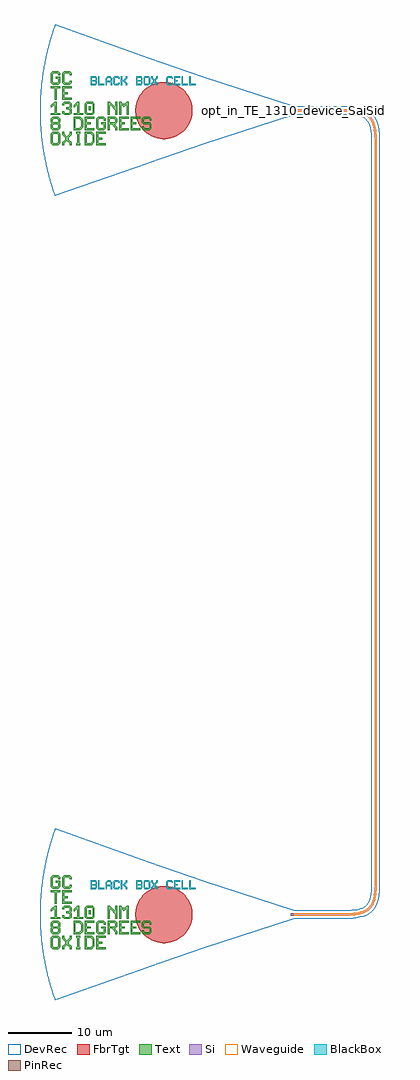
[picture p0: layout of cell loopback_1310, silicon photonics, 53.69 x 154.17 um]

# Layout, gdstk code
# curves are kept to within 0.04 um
import gdstk
lib = gdstk.Library(unit=1e-6, precision=1e-09)
def R(c, l, rs):  # rectangles x0, y0, x1, y1
    for r in rs: c.add(gdstk.rectangle(r[:2], r[2:], *l))
def P(c, l, *ps):  # polygons
    for p in ps: c.add(gdstk.Polygon(p, *l))
Si = (1, 0)
PinRec = (1, 10)
Waveguide = (1, 99)
Text = (10, 0)
DevRec = (68, 0)
FbrTgt = (81, 0)
BlackBox = (998, 0)

text = lib.new_cell('TEXT')
P(text, BlackBox, [(0,0),(0,1.4),(0.8,1.4),(1,1.2),(0.2,1.2),(0.2,0.8),(0.7,0.8),(0.8,0.9),(0.8,1.1),(0.7,1.2),(1,1.2),(1,0.8),(0.9,0.7),(1,0.6),(0.2,0.6),(0.2,0.2),(0.7,0.2),(0.8,0.3),(0.8,0.5),(0.7,0.6),(1,0.6),(1,0.2),(0.8,0)],
  [(1.2,0),(1.2,1.4),(1.4,1.4),(1.4,0.2),(2.2,0.2),(2.2,0)],
  [(2.4,0),(2.4,1.1),(2.7,1.4),(3.1,1.4),(3.3,1.2),(2.8,1.2),(2.6,1),(2.6,0.7),(3.2,0.7),(3.2,1),(3,1.2),(3.3,1.2),(3.4,1.1),(3.4,0),(3.2,0),(3.2,0.5),(2.6,0.5),(2.6,0)],
  [(3.8,0),(3.6,0.2),(3.6,1.2),(3.8,1.4),(4.4,1.4),(4.6,1.2),(4.6,1),(4.4,1),(4.4,1.1),(4.3,1.2),(3.9,1.2),(3.8,1.1),(3.8,0.3),(3.9,0.2),(4.3,0.2),(4.4,0.3),(4.4,0.4),(4.6,0.4),(4.6,0.2),(4.4,0)],
  [(4.8,0),(4.8,1.4),(5,1.4),(5,0.8),(5.2,0.8),(5.6,1.2),(5.6,1.4),(5.8,1.4),(5.8,1.1),(5.4,0.7),(5.8,0.3),(5.8,0),(5.6,0),(5.6,0.2),(5.2,0.6),(5,0.6),(5,0)],
  [(7.2,0),(7.2,1.4),(8,1.4),(8.2,1.2),(7.4,1.2),(7.4,0.8),(7.9,0.8),(8,0.9),(8,1.1),(7.9,1.2),(8.2,1.2),(8.2,0.8),(8.1,0.7),(8.2,0.6),(7.4,0.6),(7.4,0.2),(7.9,0.2),(8,0.3),(8,0.5),(7.9,0.6),(8.2,0.6),(8.2,0.2),(8,0)],
  [(8.6,0),(8.4,0.2),(8.4,1.2),(8.6,1.4),(9.2,1.4),(9.4,1.2),(9.4,0.7),(9.2,0.7),(9.2,1.1),(9.1,1.2),(8.7,1.2),(8.6,1.1),(8.6,0.3),(8.7,0.2),(9.1,0.2),(9.2,0.3),(9.2,0.7),(9.4,0.7),(9.4,0.2),(9.2,0)],
  [(9.6,0),(9.6,0.3),(9.9,0.6),(9.9,0.8),(9.6,1.1),(9.6,1.4),(9.8,1.4),(9.8,1.2),(10.1,0.9),(10.4,1.2),(10.4,1.4),(10.6,1.4),(10.6,1.1),(10.3,0.8),(10.3,0.6),(10.6,0.3),(10.6,0),(10.4,0),(10.4,0.2),(10.1,0.5),(9.8,0.2),(9.8,0)],
  [(12.2,0),(12,0.2),(12,1.2),(12.2,1.4),(12.8,1.4),(13,1.2),(13,1),(12.8,1),(12.8,1.1),(12.7,1.2),(12.3,1.2),(12.2,1.1),(12.2,0.3),(12.3,0.2),(12.7,0.2),(12.8,0.3),(12.8,0.4),(13,0.4),(13,0.2),(12.8,0)],
  [(13.2,0),(13.2,1.4),(14.2,1.4),(14.2,1.2),(13.4,1.2),(13.4,0.8),(13.8,0.8),(13.8,0.6),(13.4,0.6),(13.4,0.2),(14.2,0.2),(14.2,0)],
  [(14.4,0),(14.4,1.4),(14.6,1.4),(14.6,0.2),(15.4,0.2),(15.4,0)],
  [(15.6,0),(15.6,1.4),(15.8,1.4),(15.8,0.2),(16.6,0.2),(16.6,0)])

gc_te_1310_8degoxide_bb = lib.new_cell('GC_TE_1310_8degOxide_BB')
R(gc_te_1310_8degoxide_bb, Si, [(-0.4,-0.175,0,0.175)])
R(gc_te_1310_8degoxide_bb, Text, [(-32.27,0.06,-31.97,0.66)])
P(gc_te_1310_8degoxide_bb, Text, [(-37.67,1.71),(-37.67,3.51),(-38.27,3.51),(-38.27,3.81),(-36.77,3.81),(-36.77,3.51),(-37.37,3.51),(-37.37,1.71)],
  [(-37.97,-5.49),(-38.27,-5.19),(-38.27,-3.69),(-37.97,-3.39),(-37.07,-3.39),(-36.77,-3.69),(-36.77,-4.44),(-37.07,-4.44),(-37.07,-3.84),(-37.22,-3.69),(-37.82,-3.69),(-37.97,-3.84),(-37.97,-5.04),(-37.82,-5.19),(-37.22,-5.19),(-37.07,-5.04),(-37.07,-4.44),(-36.77,-4.44),(-36.77,-5.19),(-37.07,-5.49)],
  [(-31.07,-5.49),(-31.07,-3.39),(-29.57,-3.39),(-29.57,-3.69),(-30.77,-3.69),(-30.77,-4.29),(-30.17,-4.29),(-30.17,-4.59),(-30.77,-4.59),(-30.77,-5.19),(-29.57,-5.19),(-29.57,-5.49)],
  [(-32.87,-3.09),(-32.87,-0.99),(-31.37,-0.99),(-31.37,-1.29),(-32.57,-1.29),(-32.57,-1.89),(-31.97,-1.89),(-31.97,-2.19),(-32.57,-2.19),(-32.57,-2.79),(-31.37,-2.79),(-31.37,-3.09)],
  [(-27.47,-3.09),(-27.47,-0.99),(-25.97,-0.99),(-25.97,-1.29),(-27.17,-1.29),(-27.17,-1.89),(-26.57,-1.89),(-26.57,-2.19),(-27.17,-2.19),(-27.17,-2.79),(-25.97,-2.79),(-25.97,-3.09)],
  [(-25.67,-3.09),(-25.67,-0.99),(-24.17,-0.99),(-24.17,-1.29),(-25.37,-1.29),(-25.37,-1.89),(-24.77,-1.89),(-24.77,-2.19),(-25.37,-2.19),(-25.37,-2.79),(-24.17,-2.79),(-24.17,-3.09)],
  [(-36.47,1.71),(-36.47,3.81),(-34.97,3.81),(-34.97,3.51),(-36.17,3.51),(-36.17,2.91),(-35.57,2.91),(-35.57,2.61),(-36.17,2.61),(-36.17,2.01),(-34.97,2.01),(-34.97,1.71)],
  [(-27.47,-0.69),(-27.47,1.41),(-27.17,1.41),(-26.87,1.11),(-26.57,1.11),(-26.27,1.41),(-25.97,1.41),(-25.97,-0.69),(-26.27,-0.69),(-26.27,0.81),(-26.42,0.81),(-26.72,0.51),(-27.02,0.81),(-27.17,0.81),(-27.17,-0.69)],
  [(-29.27,-0.69),(-29.27,1.41),(-28.97,1.41),(-28.22,0.66),(-28.07,0.66),(-28.07,1.41),(-27.77,1.41),(-27.77,-0.69),(-28.07,-0.69),(-28.07,0.06),(-28.82,0.81),(-28.97,0.81),(-28.97,-0.69)],
  [(-34.22,-5.49),(-34.22,-5.19),(-34.07,-5.19),(-34.07,-3.69),(-34.22,-3.69),(-34.22,-3.39),(-33.62,-3.39),(-33.62,-3.69),(-33.77,-3.69),(-33.77,-5.19),(-33.62,-5.19),(-33.62,-5.49)],
  [(-36.17,-0.69),(-36.47,-0.39),(-36.47,-0.09),(-36.17,-0.09),(-36.17,-0.24),(-36.02,-0.39),(-35.42,-0.39),(-35.27,-0.24),(-35.27,0.06),(-35.42,0.21),(-35.87,0.21),(-35.87,0.51),(-35.42,0.51),(-35.27,0.66),(-35.27,0.96),(-35.42,1.11),(-36.02,1.11),(-36.17,0.96),(-36.17,0.81),(-36.47,0.81),(-36.47,1.11),(-36.17,1.41),(-35.27,1.41),(-34.97,1.11),(-34.97,0.51),(-35.12,0.36),(-34.97,0.21),(-34.97,-0.39),(-35.27,-0.69)],
  [(-29.27,-3.09),(-29.27,-0.99),(-28.07,-0.99),(-27.77,-1.29),(-28.97,-1.29),(-28.97,-1.89),(-28.22,-1.89),(-28.07,-1.74),(-28.07,-1.44),(-28.22,-1.29),(-27.77,-1.29),(-27.77,-1.89),(-28.07,-2.19),(-28.07,-2.34),(-27.77,-2.64),(-27.77,-3.09),(-28.07,-3.09),(-28.07,-2.79),(-28.67,-2.19),(-28.97,-2.19),(-28.97,-3.09)],
  [(-30.77,-3.09),(-31.07,-2.79),(-31.07,-1.29),(-30.77,-0.99),(-29.87,-0.99),(-29.57,-1.29),(-29.57,-1.59),(-29.87,-1.59),(-29.87,-1.44),(-30.02,-1.29),(-30.62,-1.29),(-30.77,-1.44),(-30.77,-2.64),(-30.62,-2.79),(-30.02,-2.79),(-29.87,-2.64),(-29.87,-2.19),(-30.32,-2.19),(-30.32,-1.89),(-29.57,-1.89),(-29.57,-2.79),(-29.87,-3.09)],
  [(-37.97,4.11),(-38.27,4.41),(-38.27,5.91),(-37.97,6.21),(-37.07,6.21),(-36.77,5.91),(-36.77,5.61),(-37.07,5.61),(-37.07,5.76),(-37.22,5.91),(-37.82,5.91),(-37.97,5.76),(-37.97,4.56),(-37.82,4.41),(-37.22,4.41),(-37.07,4.56),(-37.07,5.01),(-37.52,5.01),(-37.52,5.31),(-36.77,5.31),(-36.77,4.41),(-37.07,4.11)],
  [(-32.57,-0.69),(-32.87,-0.39),(-32.87,1.11),(-32.57,1.41),(-31.67,1.41),(-31.37,1.11),(-32.42,1.11),(-32.57,0.96),(-32.57,-0.24),(-32.42,-0.39),(-31.82,-0.39),(-31.67,-0.24),(-31.67,0.96),(-31.82,1.11),(-31.37,1.11),(-31.37,-0.39),(-31.67,-0.69)],
  [(-32.87,-5.49),(-32.87,-3.39),(-31.82,-3.39),(-31.52,-3.69),(-32.57,-3.69),(-32.57,-5.19),(-31.97,-5.19),(-31.67,-4.89),(-31.67,-3.99),(-31.97,-3.69),(-31.52,-3.69),(-31.37,-3.84),(-31.37,-5.04),(-31.82,-5.49)],
  [(-34.67,-3.09),(-34.67,-0.99),(-33.62,-0.99),(-33.32,-1.29),(-34.37,-1.29),(-34.37,-2.79),(-33.77,-2.79),(-33.47,-2.49),(-33.47,-1.59),(-33.77,-1.29),(-33.32,-1.29),(-33.17,-1.44),(-33.17,-2.64),(-33.62,-3.09)],
  [(-23.57,-3.09),(-23.87,-2.79),(-23.87,-2.49),(-23.57,-2.49),(-23.57,-2.64),(-23.42,-2.79),(-22.82,-2.79),(-22.67,-2.64),(-22.67,-2.34),(-22.82,-2.19),(-23.57,-2.19),(-23.87,-1.89),(-23.87,-1.29),(-23.57,-0.99),(-22.67,-0.99),(-22.37,-1.29),(-22.37,-1.59),(-22.67,-1.59),(-22.67,-1.44),(-22.82,-1.29),(-23.42,-1.29),(-23.57,-1.44),(-23.57,-1.74),(-23.42,-1.89),(-22.67,-1.89),(-22.37,-2.19),(-22.37,-2.79),(-22.67,-3.09)],
  [(-37.97,-3.09),(-38.27,-2.79),(-38.27,-2.19),(-38.12,-2.04),(-38.27,-1.89),(-38.27,-1.29),(-37.97,-0.99),(-37.07,-0.99),(-36.77,-1.29),(-37.82,-1.29),(-37.97,-1.44),(-37.97,-1.74),(-37.82,-1.89),(-37.22,-1.89),(-37.07,-1.74),(-37.07,-1.44),(-37.22,-1.29),(-36.77,-1.29),(-36.77,-1.89),(-36.92,-2.04),(-36.77,-2.19),(-37.82,-2.19),(-37.97,-2.34),(-37.97,-2.64),(-37.82,-2.79),(-37.22,-2.79),(-37.07,-2.64),(-37.07,-2.34),(-37.22,-2.19),(-36.77,-2.19),(-36.77,-2.79),(-37.07,-3.09)],
  [(-38.27,-0.69),(-38.27,-0.39),(-37.67,-0.39),(-37.67,0.81),(-37.82,0.81),(-38.12,0.51),(-38.27,0.51),(-38.27,0.81),(-37.67,1.41),(-37.37,1.41),(-37.37,-0.39),(-36.77,-0.39),(-36.77,-0.69)],
  [(-34.67,-0.69),(-34.67,-0.39),(-34.07,-0.39),(-34.07,0.81),(-34.22,0.81),(-34.52,0.51),(-34.67,0.51),(-34.67,0.81),(-34.07,1.41),(-33.77,1.41),(-33.77,-0.39),(-33.17,-0.39),(-33.17,-0.69)],
  [(-36.47,-5.49),(-36.47,-5.04),(-36.02,-4.59),(-36.02,-4.29),(-36.47,-3.84),(-36.47,-3.39),(-36.17,-3.39),(-36.17,-3.69),(-35.72,-4.14),(-35.27,-3.69),(-35.27,-3.39),(-34.97,-3.39),(-34.97,-3.84),(-35.42,-4.29),(-35.42,-4.59),(-34.97,-5.04),(-34.97,-5.49),(-35.27,-5.49),(-35.27,-5.19),(-35.72,-4.74),(-36.17,-5.19),(-36.17,-5.49)],
  [(-36.17,4.11),(-36.47,4.41),(-36.47,5.91),(-36.17,6.21),(-35.27,6.21),(-34.97,5.91),(-34.97,5.61),(-35.27,5.61),(-35.27,5.76),(-35.42,5.91),(-36.02,5.91),(-36.17,5.76),(-36.17,4.56),(-36.02,4.41),(-35.42,4.41),(-35.27,4.56),(-35.27,4.71),(-34.97,4.71),(-34.97,4.41),(-35.27,4.11)])
P(gc_te_1310_8degoxide_bb, DevRec, [(-37.607,-13.5),(-38.627,-10.245),(-39.378,-6.832),(-39.647,-5.058),(-39.835,-3.274),(-39.969,0.224),(-39.812,3.541),(-39.331,7.097),(-38.557,10.505),(-37.546,13.669),(-22.8,8.353),(-14.109,5.36),(0,0.75),(0,-0.75),(-14.109,-5.36)])
P(gc_te_1310_8degoxide_bb, FbrTgt, [(-20.621,-4.5),(-21.495,-4.37),(-22.326,-4.073),(-23.084,-3.619),(-23.738,-3.026),(-24.264,-2.316),(-24.642,-1.518),(-24.857,-0.661),(-24.9,0.221),(-24.77,1.095),(-24.473,1.926),(-24.019,2.684),(-23.426,3.338),(-22.716,3.864),(-21.918,4.242),(-21.061,4.457),(-20.179,4.5),(-19.305,4.37),(-18.474,4.073),(-17.716,3.619),(-17.062,3.026),(-16.536,2.316),(-16.158,1.518),(-15.943,0.661),(-15.9,-0.221),(-16.03,-1.095),(-16.327,-1.926),(-16.781,-2.684),(-17.374,-3.338),(-18.084,-3.864),(-18.882,-4.242),(-19.739,-4.457)])
gc_te_1310_8degoxide_bb.add(gdstk.FlexPath([(-0.01,0),(0.01,0)], 0.35, ends="flush", simple_path=True, layer=1, datatype=10))  # PinRec
gc_te_1310_8degoxide_bb.add(gdstk.Reference(text, (-32,4)))
gc_te_1310_8degoxide_bb.add(gdstk.Label('Lumerical_INTERCONNECT_library=Design kits/ebeam', (-29,-7), layer=68, texttype=0))
gc_te_1310_8degoxide_bb.add(gdstk.Label('Component=GC_TE_1310_8degOxide_BB', (-28,-5), layer=68, texttype=0))
gc_te_1310_8degoxide_bb.add(gdstk.Label('opt1', (0,0), layer=1, texttype=10))

waveguide = lib.new_cell('Waveguide')
P(waveguide, Si, [(41.6,-38.935),(41.6,-38.585),(50.28,-38.575),(51.547,-38.471),(52.411,-38.277),(52.88,-38.089),(53.274,-37.85),(53.598,-37.556),(53.863,-37.199),(54.077,-36.769),(54.24,-36.258),(54.432,-34.971),(54.471,-33.76),(54.471,83.24),(54.399,84.808),(54.163,86.005),(53.975,86.474),(53.736,86.868),(53.442,87.192),(53.085,87.457),(52.655,87.671),(52.144,87.834),(51.213,87.994),(50.075,88.061),(41.6,88.065),(41.6,88.415),(50.883,88.376),(51.923,88.242),(52.653,88.046),(53.267,87.757),(53.857,87.273),(54.289,86.63),(54.539,85.97),(54.727,85.022),(54.811,83.886),(54.821,-33.76),(54.782,-34.997),(54.58,-36.344),(54.401,-36.899),(54.163,-37.381),(53.858,-37.792),(53.482,-38.132),(53.036,-38.403),(52.517,-38.611),(51.599,-38.817),(50.292,-38.925)])
P(waveguide, Waveguide, [(41.6,-38.935),(41.6,-38.585),(50.28,-38.575),(51.547,-38.471),(52.411,-38.277),(52.88,-38.089),(53.274,-37.85),(53.598,-37.556),(53.863,-37.199),(54.077,-36.769),(54.24,-36.258),(54.432,-34.971),(54.471,-33.76),(54.471,83.24),(54.399,84.808),(54.163,86.005),(53.975,86.474),(53.736,86.868),(53.442,87.192),(53.085,87.457),(52.655,87.671),(52.144,87.834),(51.213,87.994),(50.075,88.061),(41.6,88.065),(41.6,88.415),(50.883,88.376),(51.923,88.242),(52.653,88.046),(53.267,87.757),(53.857,87.273),(54.289,86.63),(54.539,85.97),(54.727,85.022),(54.811,83.886),(54.821,-33.76),(54.782,-34.997),(54.58,-36.344),(54.401,-36.899),(54.163,-37.381),(53.858,-37.792),(53.482,-38.132),(53.036,-38.403),(52.517,-38.611),(51.599,-38.817),(50.292,-38.925)])
P(waveguide, DevRec, [(41.6,-39.435),(41.6,-38.085),(50.298,-38.074),(51.402,-37.986),(52.245,-37.805),(52.844,-37.538),(53.071,-37.374),(53.425,-36.957),(53.692,-36.358),(53.794,-35.968),(53.929,-34.996),(53.971,-33.76),(53.971,83.24),(53.928,84.477),(53.793,85.449),(53.691,85.839),(53.424,86.438),(53.26,86.665),(52.843,87.019),(52.244,87.286),(51.854,87.388),(50.298,87.555),(41.6,87.565),(41.6,88.915),(50.99,88.869),(52.14,88.708),(53.124,88.395),(53.946,87.881),(54.286,87.541),(54.57,87.152),(54.979,86.245),(55.21,85.182),(55.31,83.94),(55.321,-33.76),(55.275,-35.104),(55.114,-36.254),(54.98,-36.764),(54.571,-37.671),(53.947,-38.4),(53.558,-38.684),(52.651,-39.093),(51.588,-39.324),(50.346,-39.424)])
waveguide.add(gdstk.FlexPath([(41.61,88.24),(41.59,88.24)], 0.35, ends="flush", simple_path=True, layer=1, datatype=10))  # PinRec
waveguide.add(gdstk.FlexPath([(41.61,-38.76),(41.59,-38.76)], 0.35, ends="flush", simple_path=True, layer=1, datatype=10))  # PinRec
waveguide.add(gdstk.Label('Lumerical_INTERCONNECT_library=Design kits/EBeam', (41.6,88.17), layer=68, texttype=0))
waveguide.add(gdstk.Label('Component=ebeam_wg_integral_1310', (41.6,88.31), layer=68, texttype=0))
waveguide.add(gdstk.Label('cellName=Waveguide', (41.6,88.38), layer=68, texttype=0))
waveguide.add(gdstk.Label('Spice_param:wg_length=0.000149999 wg_width=3.5e-07 points="[[41.6,88.24],[54.646,88.24],[54.646,-38.76],[41.6,-38.76]]" radius=5e-06', (41.6,88.24), layer=68, texttype=0))
waveguide.add(gdstk.Label('Length=149.999 (microns)', (41.6,87.82), layer=68, texttype=0))
waveguide.add(gdstk.Label('waveguide_type=Strip TE 1310 nm, w=350 nm', (41.6,88.1), layer=68, texttype=0))
waveguide.add(gdstk.Label('opt1', (41.6,88.24), layer=1, texttype=10))
waveguide.add(gdstk.Label('opt2', (41.6,-38.76), layer=1, texttype=10))

loopback_1310 = lib.new_cell('loopback_1310')
r = gdstk.Reference(gc_te_1310_8degoxide_bb, (39.969,13.5)); r.repetition = gdstk.Repetition(1, 2, v1=(0,0), v2=(0,127)); loopback_1310.add(r)
loopback_1310.add(gdstk.Reference(waveguide, (-1.631,52.26)))
loopback_1310.add(gdstk.Label('opt_in_TE_1310_device_SaiSidhartha_test', (39.969,140.5), layer=10, texttype=0))

lib.write_gds('loopback_1310.gds')
